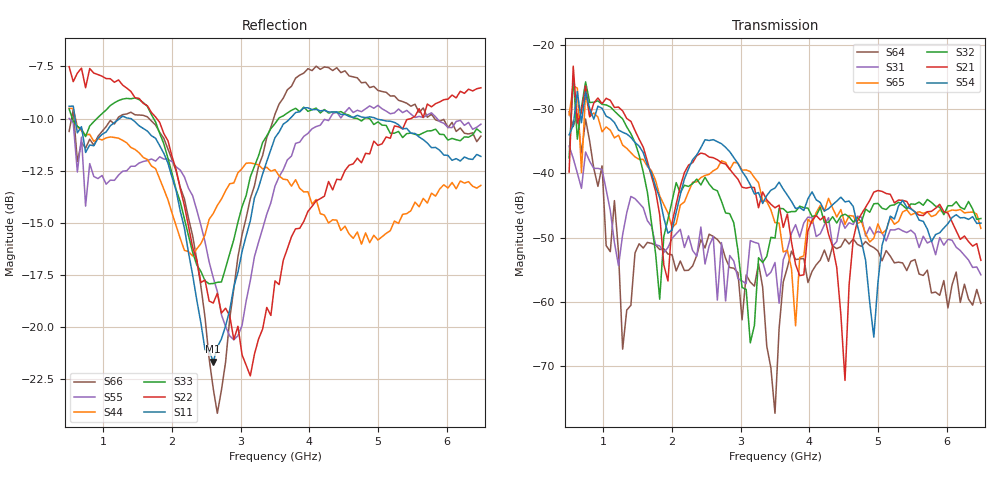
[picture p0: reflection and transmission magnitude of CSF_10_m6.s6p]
!Keysight Technologies,M9804A,MY58100912,A.14.10.03
!Date: Thursday, April 27, 2023 10:28:33
!Correction: S11(C  6-Port  )
!S12(C  6-Port  )
!S13(C  6-Port  )
!S14(C  6-Port  )
!S15(C  6-Port  )
!S16(C  6-Port  )
!S21(C  6-Port  )
!S22(C  6-Port  )
!S23(C  6-Port  )
!S24(C  6-Port  )
!S25(C  6-Port  )
!S26(C  6-Port  )
!S31(C  6-Port  )
!S32(C  6-Port  )
!S33(C  6-Port  )
!S34(C  6-Port  )
!S35(C  6-Port  )
!S36(C  6-Port  )
!S41(C  6-Port  )
!S42(C  6-Port  )
!S43(C  6-Port  )
!S44(C  6-Port  )
!S45(C  6-Port  )
!S46(C  6-Port  )
!S51(C  6-Port  )
!S52(C  6-Port  )
!S53(C  6-Port  )
!S54(C  6-Port  )
!S55(C  6-Port  )
!S56(C  6-Port  )
!S61(C  6-Port  )
!S62(C  6-Port  )
!S63(C  6-Port  )
!S64(C  6-Port  )
!S65(C  6-Port  )
!S66(C  6-Port  )
!S6P File: Measurement: :
# Hz S  RI  R 50
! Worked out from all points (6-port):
!   101 points, 500 MHz to 6.5 GHz, reference 50 ohm
!   strongest paths, dB at 500 MHz, 2 GHz, 3.5 GHz, 5 GHz, 6.5 GHz:
!     S54: -34.0, -48.8, -42.3, -57.0, -47.7
!     S21: -39.8, -47.7, -45.4, -42.7, -53.5
!     S32: -37.6, -44.3, -50.1, -44.7, -47.0
!     S65: -30.9, -48.4, -47.7, -47.9, -48.6
!     S31: -35.8, -50.1, -53.9, -49.1, -55.8
!     S64: -30.4, -52.7, -77.3, -52.1, -60.2
!   lowest |S11| = -21.7 dB at 2.6 GHz (marker M1), VSWR 1.18, Z = 42.6 + j2.06 ohm
!   |S11| at or under -10 dB: 588 MHz to 1.237 GHz (648.7 MHz wide, 71.1 % of centre); 1.401 GHz to 3.718 GHz (2.318 GHz wide, 90.6 % of centre); 4.974 GHz to end of sweep
